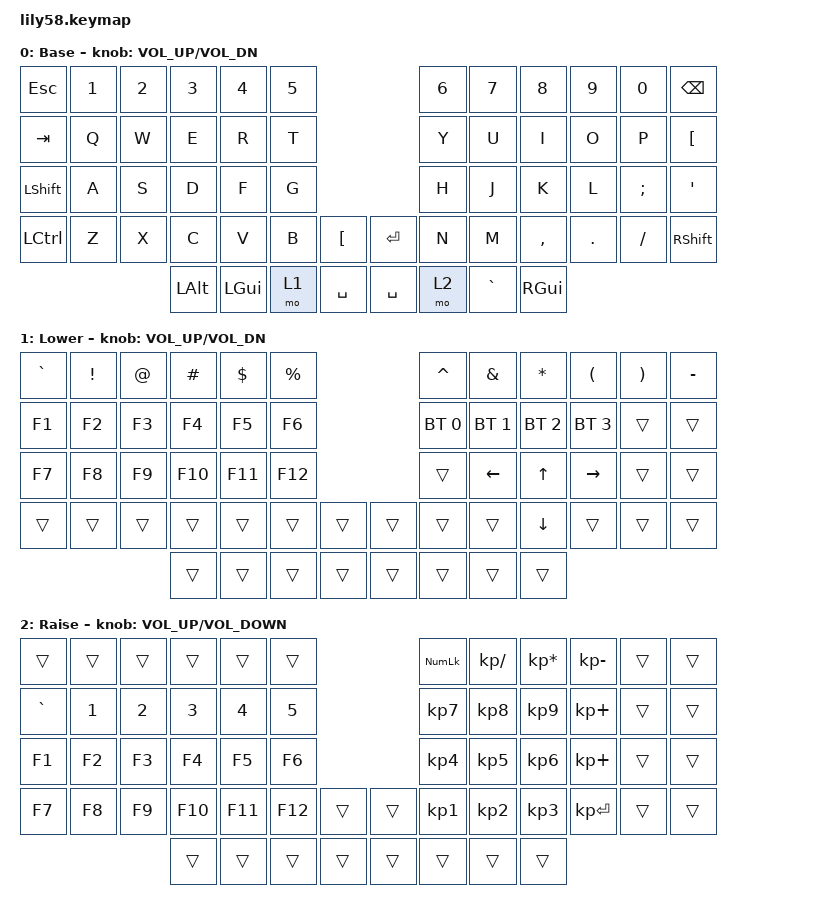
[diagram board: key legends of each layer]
/*
 * Copyright (c) 2020 The ZMK Contributors
 *
 * SPDX-License-Identifier: MIT
 */

#include <behaviors.dtsi>
#include <dt-bindings/zmk/bt.h>
#include <dt-bindings/zmk/keys.h>

/ {
    keymap {
        compatible = "zmk,keymap";

        default_layer {
            // ------------------------------------------------------------------------------------------------------------
            // |  ESC  |  1  |  2  |  3   |  4   |  5   |                   |  6   |  7    |  8    |  9   |   0   |   `   |
            // |  TAB  |  Q  |  W  |  E   |  R   |  T   |                   |  Y   |  U    |  I    |  O   |   P   |   -   |
            // |  CTRL |  A  |  S  |  D   |  F   |  G   |                   |  H   |  J    |  K    |  L   |   ;   |   '   |
            // | SHIFT |  Z  |  X  |  C   |  V   |  B   |   "["  |  |  "]"  |  N   |  M    |  ,    |  .   |   /   | SHIFT |
            //                     | ALT  | GUI  | LOWER|  SPACE |  | ENTER | RAISE| BSPC  | GUI   |

            display-name = "Base";
            bindings = <
&kp ESC           &kp N1  &kp N2  &kp N3    &kp N4    &kp N5                          &kp N6  &kp N7     &kp N8     &kp N9   &kp N0    &kp BACKSPACE
&kp TAB           &kp Q   &kp W   &kp E     &kp R     &kp T                           &kp Y   &kp U      &kp I      &kp O    &kp P     &kp LEFT_BRACKET
&kp LEFT_SHIFT    &kp A   &kp S   &kp D     &kp F     &kp G                           &kp H   &kp J      &kp K      &kp L    &kp SEMI  &kp SQT
&kp LEFT_CONTROL  &kp Z   &kp X   &kp C     &kp V     &kp B   &kp LBKT     &kp ENTER  &kp N   &kp M      &kp COMMA  &kp DOT  &kp FSLH  &kp RSHFT
                                  &kp LALT  &kp LGUI  &mo 1   &kp SPACE    &kp SPACE  &mo 2   &kp GRAVE  &kp RGUI
            >;

            sensor-bindings = <&inc_dec_kp C_VOL_UP C_VOL_DN>;
        };

        lower_layer {
            // ------------------------------------------------------------------------------------------------------------
            // | BTCLR | BT1 | BT2 |  BT3 |  BT4 |  BT5 |                   |      |       |       |      |       |       |
            // |  F1   |  F2 |  F3 |  F4  |  F5  |  F6  |                   |  F7  |  F8   |  F9   |  F10 |  F11  |  F12  |
            // |   `   |  !  |  @  |  #   |  $   |  %   |                   |  ^   |  &    |  *    |  (   |   )   |   ~   |
            // |       |     |     |      |      |      |        |  |       |      |  _    |  +    |  {   |   }   |  "|"  |
            //                     |      |      |      |        |  |       |      |       |       |

            display-name = "Lower";
            bindings = <
&kp GRAVE  &kp EXCLAMATION  &kp AT_SIGN  &kp HASH  &kp DOLLAR  &kp PERCENT                    &kp CARET     &kp AMPERSAND  &kp ASTERISK    &kp LEFT_PARENTHESIS  &kp RIGHT_PARENTHESIS  &kp MINUS
&kp F1     &kp F2           &kp F3       &kp F4    &kp F5      &kp F6                         &bt BT_SEL 0  &bt BT_SEL 1   &bt BT_SEL 2    &bt BT_SEL 3          &trans                 &trans
&kp F7     &kp F8           &kp F9       &kp F10   &kp F11     &kp F12                        &trans        &kp LEFT       &kp UP_ARROW    &kp RIGHT             &trans                 &trans
&trans     &trans           &trans       &trans    &trans      &trans       &trans    &trans  &trans        &trans         &kp DOWN_ARROW  &trans                &trans                 &trans
                                         &trans    &trans      &trans       &trans    &trans  &trans        &trans         &trans
            >;

            sensor-bindings = <&inc_dec_kp C_VOL_UP C_VOL_DN>;
        };

        raise_layer {
            // ------------------------------------------------------------------------------------------------------------
            // |       |     |     |      |      |      |                   |      |       |       |      |       |       |
            // |   `   |  1  |  2  |  3   |  4   |  5   |                   |  6   |   7   |   8   |  9   |   0   |       |
            // |   F1  |  F2 |  F3 |  F4  |  F5  |  F6  |                   |      |   <-  |   v   |  ^   |  ->   |       |
            // |   F7  |  F8 |  F9 |  F10 |  F11 |  F12 |        |  |       |  +   |   -   |   =   |  [   |   ]   |   \   |
            //                     |      |      |      |        |  |       |      |       |       |

            display-name = "Raise";
            bindings = <
&trans     &trans  &trans  &trans   &trans   &trans                     &kp KP_NUMLOCK   &kp KP_DIVIDE    &kp KP_MULTIPLY  &kp KP_MINUS  &trans  &trans
&kp GRAVE  &kp N1  &kp N2  &kp N3   &kp N4   &kp N5                     &kp KP_NUMBER_7  &kp KP_NUMBER_8  &kp KP_NUMBER_9  &kp KP_PLUS   &trans  &trans
&kp F1     &kp F2  &kp F3  &kp F4   &kp F5   &kp F6                     &kp KP_NUMBER_4  &kp KP_NUMBER_5  &kp KP_NUMBER_6  &kp KP_PLUS   &trans  &trans
&kp F7     &kp F8  &kp F9  &kp F10  &kp F11  &kp F12  &trans    &trans  &kp KP_NUMBER_1  &kp KP_NUMBER_2  &kp KP_NUMBER_3  &kp KP_ENTER  &trans  &trans
                           &trans   &trans   &trans   &trans    &trans  &trans           &trans           &trans
            >;

            sensor-bindings = <&inc_dec_kp C_VOLUME_UP C_VOLUME_DOWN>;
        };
    };
};
